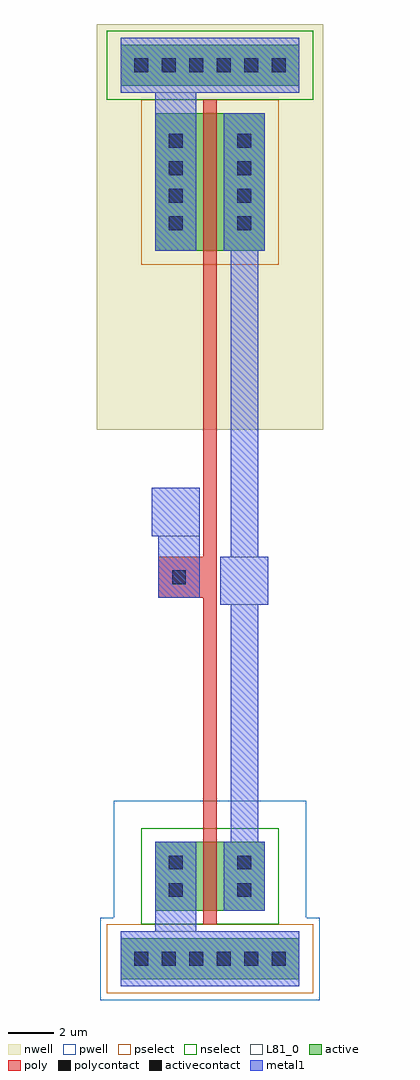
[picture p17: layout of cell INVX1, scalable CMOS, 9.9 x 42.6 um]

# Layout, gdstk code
import gdstk
lib = gdstk.Library(unit=1e-6, precision=1e-09)
def R(c, l, rs):  # rectangles x0, y0, x1, y1
    for r in rs: c.add(gdstk.rectangle(r[:2], r[2:], *l))
def A(c, l, x, y, w, h, nx, ny, dx, dy):  # array of equal rectangles
    R(c, l, [(x+i*dx, y+j*dy, x+i*dx+w, y+j*dy+h) for i in range(nx) for j in range(ny)])
pwell = (41, 0)
nwell = (42, 0)
active = (43, 0)
pselect = (44, 0)
nselect = (45, 0)
poly = (46, 0)
polycontact = (47, 0)
activecontact = (48, 0)
metal1 = (49, 0)
L81_0 = (81, 0)

invx1 = lib.new_cell('INVX1')
R(invx1, pwell, [(-1.8,-1.8,7.8,1.8), (-1.2,1.8,7.2,6.9)])
R(invx1, nwell, [(-1.95,23.1,7.95,40.8)])
R(invx1, active, [(-0.9,-0.9,6.9,0.9), (0.6,2.1,5.4,5.1), (0.6,30.9,5.4,36.9), (-0.9,38.1,6.9,39.9)])
R(invx1, pselect, [(-1.5,-1.5,7.5,1.5), (0,30.3,6,37.5)])
R(invx1, nselect, [(0,1.5,6,5.7), (-1.5,37.5,7.5,40.5)])
R(invx1, poly, [(2.7,1.5,3.3,15.75), (0.75,15.75,3.3,17.55), (2.7,17.55,3.3,37.5)])
R(invx1, polycontact, [(1.35,16.35,1.95,16.95)])
A(invx1, activecontact, -0.3, -0.3, 0.6, 0.6, 6, 2, 1.2, 39)
A(invx1, activecontact, 1.2, 31.8, 0.6, 0.6, 1, 4, 0, 1.2)
A(invx1, activecontact, 4.2, 31.8, 0.6, 0.6, 1, 4, 0, 1.2)
R(invx1, activecontact, [(1.2,2.7,1.8,3.3), (4.2,2.7,4.8,3.3), (1.2,3.9,1.8,4.5), (4.2,3.9,4.8,4.5)])
R(invx1, metal1, [(-0.9,-1.2,6.9,1.2), (0.6,1.2,2.4,5.1), (3.6,2.1,5.4,5.1), (3.9,5.1,5.1,15.45), (3.45,15.45,5.55,17.55), (0.75,15.75,2.55,18.45), (3.9,17.55,5.1,30.9), (0.45,18.45,2.55,20.55), (0.6,30.9,2.4,37.8), (3.6,30.9,5.4,36.9), (-0.9,37.8,6.9,40.2)])
R(invx1, L81_0, [(-0.9,-1.2,6.9,1.2), (3.45,15.45,5.55,17.55), (0.45,18.45,2.55,20.55), (-0.9,37.8,6.9,40.2)])

lib.write_gds('INVX1.gds')
